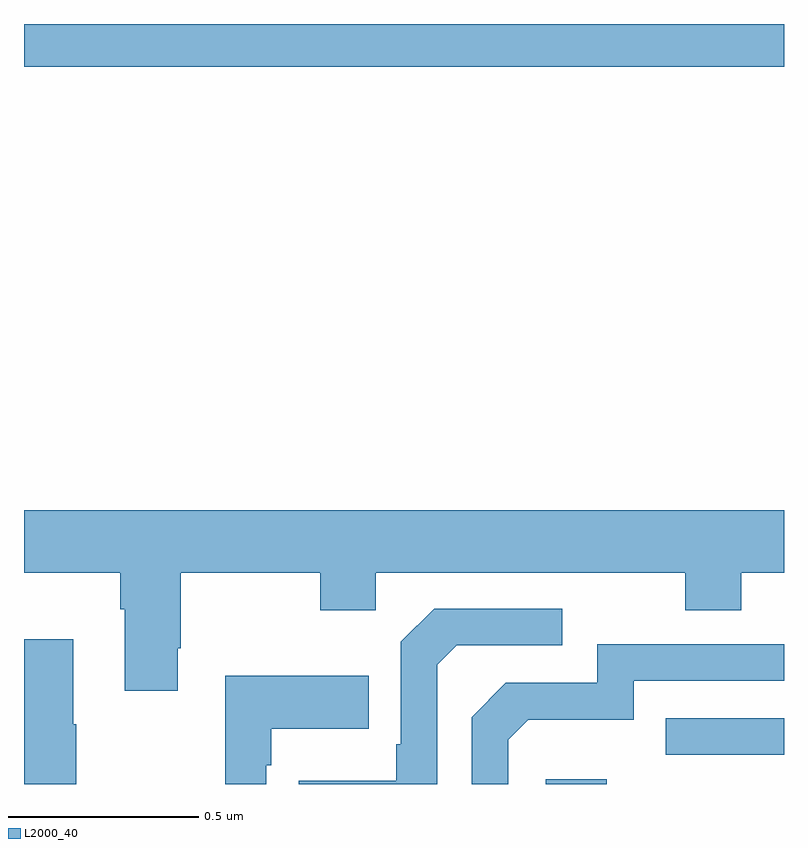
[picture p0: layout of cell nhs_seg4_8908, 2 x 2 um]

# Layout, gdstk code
import gdstk
lib = gdstk.Library(unit=1e-6, precision=1e-09)
def R(c, l, rs):  # rectangles x0, y0, x1, y1
    for r in rs: c.add(gdstk.rectangle(r[:2], r[2:], *l))
def P(c, l, *ps):  # polygons
    for p in ps: c.add(gdstk.Polygon(p, *l))
L2000_40 = (2000, 40)

nhs_seg4_8908 = lib.new_cell('nhs_seg4_8908')
R(nhs_seg4_8908, L2000_40, [(221.373,826.9,221.534,826.912), (221.689,826.977,222,827.073), (220,828.788,222,828.9)])
P(nhs_seg4_8908, L2000_40, [(220.405,827.257),(220.413,827.257),(220.413,827.456),(220.78,827.456),(220.78,827.357),(220.926,827.357),(220.926,827.456),(221.74,827.456),(221.74,827.357),(221.887,827.357),(221.887,827.456),(222,827.456),(222,827.62),(220,827.62),(220,827.456),(220.253,827.456),(220.253,827.36),(220.265,827.36),(220.265,827.145),(220.405,827.145)],
  [(221.088,827.214),(221.139,827.265),(221.416,827.265),(221.416,827.361),(221.079,827.361),(220.992,827.274),(220.992,827.005),(220.98,827.005),(220.98,826.909),(220.723,826.909),(220.723,826.9),(221.088,826.9)],
  [(220.137,827.057),(220.129,827.057),(220.129,827.281),(220,827.281),(220,826.9),(220.137,826.9)],
  [(221.274,827.016),(221.327,827.069),(221.604,827.069),(221.604,827.172),(222,827.172),(222,827.268),(221.508,827.268),(221.508,827.166),(221.268,827.166),(221.178,827.076),(221.178,826.9),(221.274,826.9)],
  [(220.638,826.949),(220.651,826.949),(220.651,827.045),(220.907,827.045),(220.907,827.185),(220.53,827.185),(220.53,826.9),(220.638,826.9)])

lib.write_gds('nhs_seg4_8908.gds')
